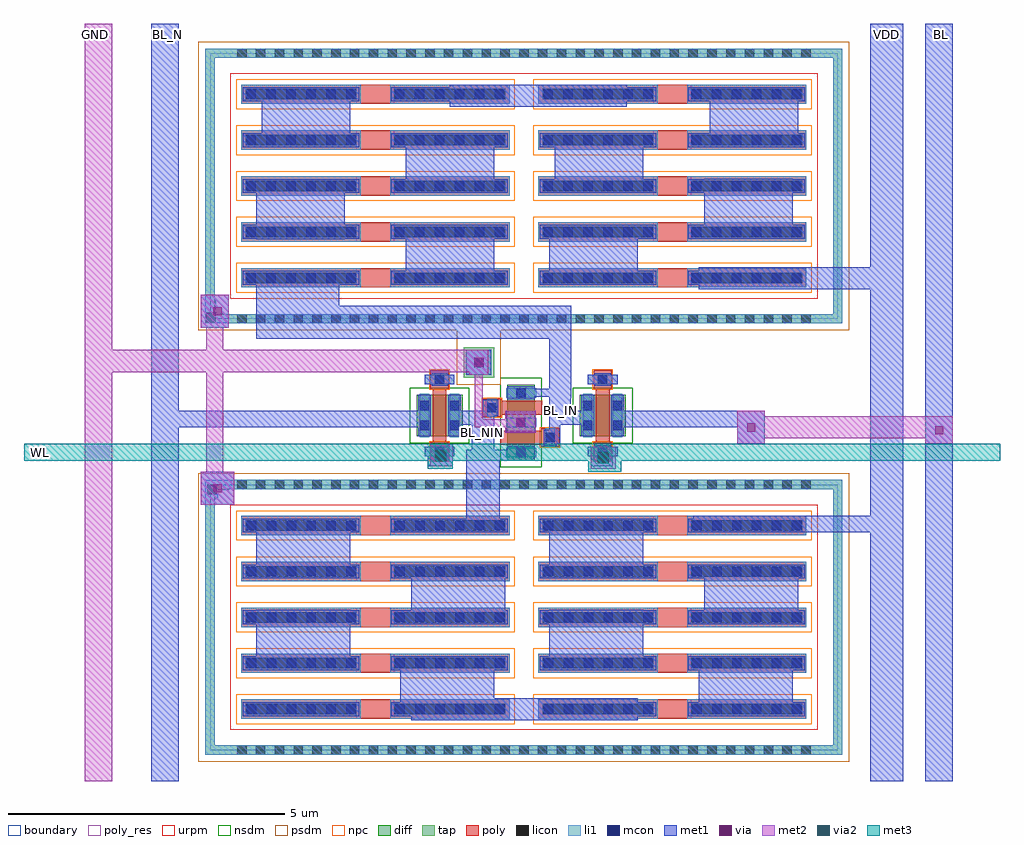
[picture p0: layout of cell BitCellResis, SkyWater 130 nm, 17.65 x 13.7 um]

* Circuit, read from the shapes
.subckt BitCellResis BL BL_IN BL_N BL_NIN GND VDD WL
XM1 BL_NIN WL BL_N GND sky130_fd_pr__nfet_01v8 w=0.75 l=0.25
XM2 GND BL_IN BL_NIN GND sky130_fd_pr__nfet_01v8 w=0.5 l=0.25
XM3 BL_IN BL_NIN GND GND sky130_fd_pr__nfet_01v8 w=0.5 l=0.25
XM4 BL WL BL_IN GND sky130_fd_pr__nfet_01v8 w=0.75 l=0.25
XR5 sky130_fd_pr__res_xhigh_po_0p35_ZFXP64_0/R1_0_0 sky130_fd_pr__res_xhigh_po_0p35_ZFXP64_0/R1_0_1 GND sky130_fd_pr__res_xhigh_po w=0.35 l=0.57
XR6 sky130_fd_pr__res_xhigh_po_0p35_ZFXP64_0/R1_0_0 sky130_fd_pr__res_xhigh_po_0p35_ZFXP64_0/R1_1_1 GND sky130_fd_pr__res_xhigh_po w=0.35 l=0.57
XR7 sky130_fd_pr__res_xhigh_po_0p35_ZFXP64_0/R2_2_1 sky130_fd_pr__res_xhigh_po_0p35_ZFXP64_0/R1_1_1 GND sky130_fd_pr__res_xhigh_po w=0.35 l=0.57
XR8 sky130_fd_pr__res_xhigh_po_0p35_ZFXP64_0/R2_2_1 sky130_fd_pr__res_xhigh_po_0p35_ZFXP64_0/R1_3_1 GND sky130_fd_pr__res_xhigh_po w=0.35 l=0.57
XR9 BL_NIN sky130_fd_pr__res_xhigh_po_0p35_ZFXP64_0/R1_3_1 GND sky130_fd_pr__res_xhigh_po w=0.35 l=0.57
XR10 sky130_fd_pr__res_xhigh_po_0p35_ZFXP64_1/R1_3_0 BL_IN GND sky130_fd_pr__res_xhigh_po w=0.35 l=0.57
XR11 sky130_fd_pr__res_xhigh_po_0p35_ZFXP64_1/R1_3_0 sky130_fd_pr__res_xhigh_po_0p35_ZFXP64_1/R2_2_0 GND sky130_fd_pr__res_xhigh_po w=0.35 l=0.57
XR12 sky130_fd_pr__res_xhigh_po_0p35_ZFXP64_1/R1_1_0 sky130_fd_pr__res_xhigh_po_0p35_ZFXP64_1/R2_2_0 GND sky130_fd_pr__res_xhigh_po w=0.35 l=0.57
XR13 sky130_fd_pr__res_xhigh_po_0p35_ZFXP64_1/R1_1_0 sky130_fd_pr__res_xhigh_po_0p35_ZFXP64_1/R2_0_0 GND sky130_fd_pr__res_xhigh_po w=0.35 l=0.57
XR14 sky130_fd_pr__res_xhigh_po_0p35_ZFXP64_1/R1_0_0 sky130_fd_pr__res_xhigh_po_0p35_ZFXP64_1/R2_0_0 GND sky130_fd_pr__res_xhigh_po w=0.35 l=0.57
XR15 sky130_fd_pr__res_xhigh_po_0p35_ZFXP64_0/R2_0_0 sky130_fd_pr__res_xhigh_po_0p35_ZFXP64_0/R1_0_0 GND sky130_fd_pr__res_xhigh_po w=0.35 l=0.57
XR16 sky130_fd_pr__res_xhigh_po_0p35_ZFXP64_0/R2_0_0 sky130_fd_pr__res_xhigh_po_0p35_ZFXP64_0/R1_1_0 GND sky130_fd_pr__res_xhigh_po w=0.35 l=0.57
XR17 sky130_fd_pr__res_xhigh_po_0p35_ZFXP64_0/R2_2_0 sky130_fd_pr__res_xhigh_po_0p35_ZFXP64_0/R1_1_0 GND sky130_fd_pr__res_xhigh_po w=0.35 l=0.57
XR18 sky130_fd_pr__res_xhigh_po_0p35_ZFXP64_0/R2_2_0 sky130_fd_pr__res_xhigh_po_0p35_ZFXP64_0/R1_3_0 GND sky130_fd_pr__res_xhigh_po w=0.35 l=0.57
XR19 VDD sky130_fd_pr__res_xhigh_po_0p35_ZFXP64_0/R1_3_0 GND sky130_fd_pr__res_xhigh_po w=0.35 l=0.57
XR20 VDD sky130_fd_pr__res_xhigh_po_0p35_ZFXP64_1/R2_3_1 GND sky130_fd_pr__res_xhigh_po w=0.35 l=0.57
XR21 sky130_fd_pr__res_xhigh_po_0p35_ZFXP64_1/R1_2_1 sky130_fd_pr__res_xhigh_po_0p35_ZFXP64_1/R2_3_1 GND sky130_fd_pr__res_xhigh_po w=0.35 l=0.57
XR22 sky130_fd_pr__res_xhigh_po_0p35_ZFXP64_1/R1_2_1 sky130_fd_pr__res_xhigh_po_0p35_ZFXP64_1/R2_1_1 GND sky130_fd_pr__res_xhigh_po w=0.35 l=0.57
XR23 sky130_fd_pr__res_xhigh_po_0p35_ZFXP64_1/R1_0_1 sky130_fd_pr__res_xhigh_po_0p35_ZFXP64_1/R2_1_1 GND sky130_fd_pr__res_xhigh_po w=0.35 l=0.57
XR24 sky130_fd_pr__res_xhigh_po_0p35_ZFXP64_1/R1_0_1 sky130_fd_pr__res_xhigh_po_0p35_ZFXP64_1/R1_0_0 GND sky130_fd_pr__res_xhigh_po w=0.35 l=0.57
.ends

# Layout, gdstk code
from math import pi, radians
import gdstk
lib = gdstk.Library(unit=1e-6, precision=1e-09)
def R(c, l, rs):  # rectangles x0, y0, x1, y1
    for r in rs: c.add(gdstk.rectangle(r[:2], r[2:], *l))
def A(c, l, x, y, w, h, nx, ny, dx, dy):  # array of equal rectangles
    R(c, l, [(x+i*dx, y+j*dy, x+i*dx+w, y+j*dy+h) for i in range(nx) for j in range(ny)])
diff = (65, 20)
tap = (65, 44)
poly_res = (66, 13)
poly = (66, 20)
licon = (66, 44)
li1 = (67, 20)
mcon = (67, 44)
met1 = (68, 20)
via = (68, 44)
met2 = (69, 20)
via2 = (69, 44)
met3 = (70, 20)
urpm = (79, 20)
nsdm = (93, 44)
psdm = (94, 20)
npc = (95, 20)
boundary = (235, 4)

sky130_fd_pr__res_xhigh_ = lib.new_cell('sky130_fd_pr__res_xhigh_po_0p35_ZFXP64')
R(sky130_fd_pr__res_xhigh_, tap, [(-2.485,-5.76,2.485,-5.59), (-2.485,-5.59,-2.315,5.59), (2.315,-5.59,2.485,5.59), (-2.485,5.59,2.485,5.76)])
A(sky130_fd_pr__res_xhigh_, poly_res, -1.835, -3.03, 0.35, 0.69, 5, 2, 0.83, 5.37)
A(sky130_fd_pr__res_xhigh_, poly, -1.835, -5.11, 0.35, 4.85, 5, 2, 0.83, 5.37)
A(sky130_fd_pr__res_xhigh_, licon, -2.485, -5.185, 0.17, 0.17, 1, 31, 0, 0.34)
A(sky130_fd_pr__res_xhigh_, licon, 2.315, -5.185, 0.17, 0.17, 1, 31, 0, 0.34)
A(sky130_fd_pr__res_xhigh_, licon, -1.755, -5.03, 0.19, 2, 5, 2, 0.83, 2.69)
A(sky130_fd_pr__res_xhigh_, licon, -1.755, 0.34, 0.19, 2, 5, 2, 0.83, 2.69)
A(sky130_fd_pr__res_xhigh_, li1, -1.835, -5.11, 0.35, 2.16, 5, 2, 0.83, 2.69)
A(sky130_fd_pr__res_xhigh_, li1, -1.835, 0.26, 0.35, 2.16, 5, 2, 0.83, 2.69)
R(sky130_fd_pr__res_xhigh_, li1, [(-2.485,-5.76,2.485,-5.59), (-2.485,-5.59,-2.315,5.59), (2.315,-5.59,2.485,5.59), (-2.485,5.59,2.485,5.76)])
A(sky130_fd_pr__res_xhigh_, mcon, -1.745, -5.015, 0.17, 0.17, 5, 6, 0.83, 0.36)
A(sky130_fd_pr__res_xhigh_, mcon, -1.745, -2.33, 0.17, 0.17, 5, 6, 0.83, 0.36)
A(sky130_fd_pr__res_xhigh_, mcon, -1.745, 0.355, 0.17, 0.17, 5, 6, 0.83, 0.36)
A(sky130_fd_pr__res_xhigh_, mcon, -1.745, 3.04, 0.17, 0.17, 5, 6, 0.83, 0.36)
A(sky130_fd_pr__res_xhigh_, met1, -1.785, -5.08, 0.25, 2.105, 5, 4, 0.83, 2.685)
R(sky130_fd_pr__res_xhigh_, urpm, [(-2.035,-5.31,2.035,5.31)])
R(sky130_fd_pr__res_xhigh_, psdm, [(-2.61,-5.885,2.61,5.885)])
A(sky130_fd_pr__res_xhigh_, npc, -1.93, -5.205, 0.54, 5.04, 5, 2, 0.83, 5.37)
R(sky130_fd_pr__res_xhigh_, boundary, [(-2.4,-5.675,2.4,5.675)])
sky130_fd_pr__res_xhigh_.add(gdstk.Label('B', (0,-5.675), layer=65, texttype=5))
sky130_fd_pr__res_xhigh_.add(gdstk.Label('R1_0_0', (-1.66,-0.435), layer=67, texttype=5))
sky130_fd_pr__res_xhigh_.add(gdstk.Label('R2_0_0', (-1.66,-4.935), layer=67, texttype=5))
sky130_fd_pr__res_xhigh_.add(gdstk.Label('R1_0_1', (-1.66,4.935), layer=67, texttype=5))
sky130_fd_pr__res_xhigh_.add(gdstk.Label('R2_0_1', (-1.66,0.435), layer=67, texttype=5))
sky130_fd_pr__res_xhigh_.add(gdstk.Label('R1_1_0', (-0.83,-0.435), layer=67, texttype=5))
sky130_fd_pr__res_xhigh_.add(gdstk.Label('R2_1_0', (-0.83,-4.935), layer=67, texttype=5))
sky130_fd_pr__res_xhigh_.add(gdstk.Label('R1_1_1', (-0.83,4.935), layer=67, texttype=5))
sky130_fd_pr__res_xhigh_.add(gdstk.Label('R2_1_1', (-0.83,0.435), layer=67, texttype=5))
sky130_fd_pr__res_xhigh_.add(gdstk.Label('R1_2_0', (0,-0.435), layer=67, texttype=5))
sky130_fd_pr__res_xhigh_.add(gdstk.Label('R2_2_0', (0,-4.935), layer=67, texttype=5))
sky130_fd_pr__res_xhigh_.add(gdstk.Label('R1_2_1', (0,4.935), layer=67, texttype=5))
sky130_fd_pr__res_xhigh_.add(gdstk.Label('R2_2_1', (0,0.435), layer=67, texttype=5))
sky130_fd_pr__res_xhigh_.add(gdstk.Label('R1_3_0', (0.83,-0.435), layer=67, texttype=5))
sky130_fd_pr__res_xhigh_.add(gdstk.Label('R2_3_0', (0.83,-4.935), layer=67, texttype=5))
sky130_fd_pr__res_xhigh_.add(gdstk.Label('R1_3_1', (0.83,4.935), layer=67, texttype=5))
sky130_fd_pr__res_xhigh_.add(gdstk.Label('R2_3_1', (0.83,0.435), layer=67, texttype=5))
sky130_fd_pr__res_xhigh_.add(gdstk.Label('R1_4_0', (1.66,-0.435), layer=67, texttype=5))
sky130_fd_pr__res_xhigh_.add(gdstk.Label('R2_4_0', (1.66,-4.935), layer=67, texttype=5))
sky130_fd_pr__res_xhigh_.add(gdstk.Label('R1_4_1', (1.66,4.935), layer=67, texttype=5))
sky130_fd_pr__res_xhigh_.add(gdstk.Label('R2_4_1', (1.66,0.435), layer=67, texttype=5))

sky130_fd_pr__nfet_01v8_ = lib.new_cell('sky130_fd_pr__nfet_01v8_HKHAX8')
R(sky130_fd_pr__nfet_01v8_, diff, [(-0.415,-0.375,0.415,0.375)])
R(sky130_fd_pr__nfet_01v8_, poly, [(-0.165,-0.815,0.165,-0.485), (-0.125,-0.485,0.125,0.485), (-0.165,0.485,0.165,0.815)])
R(sky130_fd_pr__nfet_01v8_, licon, [(-0.085,-0.735,0.085,-0.565), (-0.355,-0.255,-0.185,-0.085), (0.185,-0.255,0.355,-0.085), (-0.355,0.085,-0.185,0.255), (0.185,0.085,0.355,0.255), (-0.085,0.565,0.085,0.735)])
R(sky130_fd_pr__nfet_01v8_, li1, [(-0.27,-0.735,0.27,-0.565), (-0.355,-0.395,-0.185,0.395), (0.185,-0.395,0.355,0.395), (-0.27,0.565,0.27,0.735)])
R(sky130_fd_pr__nfet_01v8_, mcon, [(-0.085,-0.735,0.085,-0.565), (-0.355,-0.265,-0.185,-0.095), (0.185,-0.265,0.355,-0.095), (-0.355,0.095,-0.185,0.265), (0.185,0.095,0.355,0.265), (-0.085,0.565,0.085,0.735)])
R(sky130_fd_pr__nfet_01v8_, met1, [(-0.145,-0.765,0.145,-0.735), (-0.27,-0.735,0.27,-0.565), (-0.145,-0.565,0.145,-0.535), (-0.385,-0.375,-0.155,0.375), (0.155,-0.375,0.385,0.375), (-0.145,0.535,0.145,0.565), (-0.27,0.565,0.27,0.735), (-0.145,0.735,0.145,0.765)])
R(sky130_fd_pr__nfet_01v8_, nsdm, [(-0.54,-0.5,0.54,0.5)])
R(sky130_fd_pr__nfet_01v8_, npc, [(-0.185,-0.835,0.185,-0.465), (-0.185,0.465,0.185,0.835)])
sky130_fd_pr__nfet_01v8_.add(gdstk.Label('D', (-0.27,0), layer=67, texttype=5))
sky130_fd_pr__nfet_01v8_.add(gdstk.Label('S', (0.27,0), layer=67, texttype=5))
sky130_fd_pr__nfet_01v8_.add(gdstk.Label('G', (0,0.65), layer=67, texttype=5))

c_sky130_fd_pr__nfet_01v8_ = lib.new_cell('sky130_fd_pr__nfet_01v8_BHJCXL')
R(c_sky130_fd_pr__nfet_01v8_, diff, [(-0.685,-0.25,0.685,0.25)])
R(c_sky130_fd_pr__nfet_01v8_, poly, [(-0.435,-0.69,-0.105,-0.36), (0.145,-0.38,0.395,0.36), (-0.395,-0.36,-0.145,0.38), (0.105,0.36,0.435,0.69)])
A(c_sky130_fd_pr__nfet_01v8_, licon, -0.625, -0.085, 0.17, 0.17, 3, 1, 0.54, 0)
R(c_sky130_fd_pr__nfet_01v8_, licon, [(-0.355,-0.61,-0.185,-0.44), (0.185,0.44,0.355,0.61)])
A(c_sky130_fd_pr__nfet_01v8_, li1, -0.625, -0.27, 0.17, 0.54, 3, 1, 0.54, 0)
R(c_sky130_fd_pr__nfet_01v8_, li1, [(-0.435,-0.61,-0.105,-0.44), (0.105,0.44,0.435,0.61)])
A(c_sky130_fd_pr__nfet_01v8_, mcon, -0.625, -0.085, 0.17, 0.17, 3, 1, 0.54, 0)
R(c_sky130_fd_pr__nfet_01v8_, mcon, [(-0.355,-0.61,-0.185,-0.44), (0.185,0.44,0.355,0.61)])
A(c_sky130_fd_pr__nfet_01v8_, met1, -0.655, -0.25, 0.23, 0.5, 3, 1, 0.54, 0)
R(c_sky130_fd_pr__nfet_01v8_, met1, [(-0.415,-0.64,-0.125,-0.41), (0.125,0.41,0.415,0.64)])
R(c_sky130_fd_pr__nfet_01v8_, nsdm, [(-0.81,-0.375,0.81,0.375)])
R(c_sky130_fd_pr__nfet_01v8_, npc, [(-0.455,-0.71,-0.085,-0.34), (0.085,0.34,0.455,0.71)])
c_sky130_fd_pr__nfet_01v8_.add(gdstk.Label('D0', (-0.54,0), layer=67, texttype=5))
c_sky130_fd_pr__nfet_01v8_.add(gdstk.Label('G0', (-0.27,-0.525), layer=67, texttype=5))
c_sky130_fd_pr__nfet_01v8_.add(gdstk.Label('S1', (0,0), layer=67, texttype=5))
c_sky130_fd_pr__nfet_01v8_.add(gdstk.Label('G1', (0.27,0.525), layer=67, texttype=5))

bitcellresis = lib.new_cell('BitCellResis')
R(bitcellresis, tap, [(0.15,2.1,0.7,2.65)])
R(bitcellresis, licon, [(0.34,2.29,0.51,2.46)])
R(bitcellresis, li1, [(-4.5,-0.1,-4.3,0.065), (-4.5,0.065,-4.1,0.25), (0.2,2.15,0.65,2.6), (-4.5,3.1,-4.2,3.27), (-4.5,3.27,-4.33,3.5)])
R(bitcellresis, mcon, [(-4.485,-0.01,-4.315,0.16), (0.34,2.29,0.51,2.46), (-4.5,3.1,-4.33,3.27)])
R(bitcellresis, met1, [(-5.5,-5.2,-5,1.2), (7.5,-5.2,8.1,-0.7), (8.5,-5.2,9,8.5), (-0.8,-4.1,3.3,-4), (-1,-4,3.3,-3.7), (4.4,-4,6.1,-3), (-1,-3.7,0.7,-3), (-3.6,-3.1,-1.9,-2.1), (1.7,-3.1,3.4,-2.1), (-0.8,-2.3,0.9,-1.3), (4.5,-2.3,6.2,-1.3), (-3.6,-1.5,-1.9,-0.5), (1.7,-1.5,3.4,-0.5), (0.2,-0.7,0.8,0.6), (4.3,-0.7,8.1,-0.4), (7.5,-0.4,8.1,3.7), (-4.6,-0.2,-4,0.4), (-0.5,0.5,-0.05,0.75), (2.45,0.5,2.85,0.8), (0.2,0.6,1.4,0.8), (-0.45,0.75,-0.05,0.9), (0.3,0.8,0.7,1.25), (1.7,0.9,1.9,1.25), (5.1,0.9,5.6,1.2), (0.92,1.1,1.45,1.5), (-5.5,1.2,-0.5,1.5), (2.95,1.2,5.6,1.25), (0,1.25,0.7,1.5), (1.7,1.25,2.4,1.5), (2.9,1.25,5.6,1.5), (-5.5,1.5,-5,8.5), (0.5,1.5,0.7,1.7), (1.7,1.5,2.09,1.73), (1.7,1.73,2.1,1.75), (1.1,1.75,2.1,1.9), (1.7,1.9,2.1,2.8), (0.2,2.15,0.65,2.6), (-3.6,2.8,2.1,3.4), (-4.6,3,-4.1,3.6), (-3.6,3.4,-2.1,4), (4.4,3.7,8.1,4.1), (-0.9,3.8,0.7,4.8), (1.7,3.8,2.395,3.995), (3.225,3.8,3.3,3.995), (1.7,3.995,3.3,4.8), (7.5,4.1,8.1,8.5), (-3.6,4.6,-2,5.6), (4.5,4.7,6.1,5.7), (-0.9,5.5,0.7,6.5), (1.8,5.5,3.4,6.5), (-3.5,6.3,-1.9,7.3), (4.6,6.3,6.2,7.3), (-0.1,7,3.1,7.4)])
R(bitcellresis, via, [(-4.375,0.025,-4.225,0.175), (2.575,0.555,2.725,0.705), (-0.345,0.605,-0.195,0.755), (8.675,1.075,8.825,1.225), (5.275,1.125,5.425,1.275), (1.1,1.225,1.25,1.375), (0.355,2.305,0.505,2.455), (-4.375,3.225,-4.225,3.375)])
R(bitcellresis, met2, [(-6.7,-5.2,-6.2,2.2), (-4.6,-0.2,-4,0.4), (-4.5,0.4,-4.2,2.2), (2.45,0.45,2.9,0.85), (-0.45,0.5,-0.05,0.9), (5.1,0.9,5.6,1), (8.5,0.9,9,1), (5.1,1,9,1.4), (0.9,1.1,1.45,1.2), (0.35,1.2,1.45,1.35), (0.35,1.35,0.5,2.15), (0.9,1.35,1.45,1.5), (5.1,1.4,5.6,1.5), (0.25,2.15,0.6,2.2), (-6.7,2.2,0.6,2.6), (-6.7,2.6,-6.2,8.5), (-4.5,2.6,-4.2,3), (-4.6,3,-4.1,3.6)])
R(bitcellresis, via2, [(2.575,0.55,2.775,0.75), (-0.36,0.59,-0.16,0.79)])
R(bitcellresis, met3, [(2.4,0.4,3,0.6), (-0.5,0.45,-0.05,0.6), (-7.8,0.6,9.85,0.9)])
R(bitcellresis, psdm, [(0.025,1.975,0.825,2.955)])
bitcellresis.add(gdstk.Reference(sky130_fd_pr__res_xhigh_, (1.24,-2.235), rotation=pi/2))
bitcellresis.add(gdstk.Reference(sky130_fd_pr__res_xhigh_, (1.24,5.565), rotation=3*pi/2))
bitcellresis.add(gdstk.Reference(sky130_fd_pr__nfet_01v8_, (-0.285,1.415)))
bitcellresis.add(gdstk.Reference(sky130_fd_pr__nfet_01v8_, (2.665,1.415)))
bitcellresis.add(gdstk.Reference(c_sky130_fd_pr__nfet_01v8_, (1.19,1.285), rotation=3*pi/2))
bitcellresis.add(gdstk.Label('VDD', (7.8,8.3), layer=68, texttype=5))
bitcellresis.add(gdstk.Label('GND', (-6.5,8.3), layer=69, texttype=5))
bitcellresis.add(gdstk.Label('BL', (8.8,8.3), layer=68, texttype=5))
bitcellresis.add(gdstk.Label('BL_N', (-5.2,8.3), layer=68, texttype=5))
bitcellresis.add(gdstk.Label('BL_IN', (1.9,1.5), layer=68, texttype=5))
bitcellresis.add(gdstk.Label('BL_NIN', (0.5,1.1), layer=68, texttype=5))
bitcellresis.add(gdstk.Label('WL', (-7.5,0.75), layer=70, texttype=5))

lib.write_gds('BitCellResis.gds')
